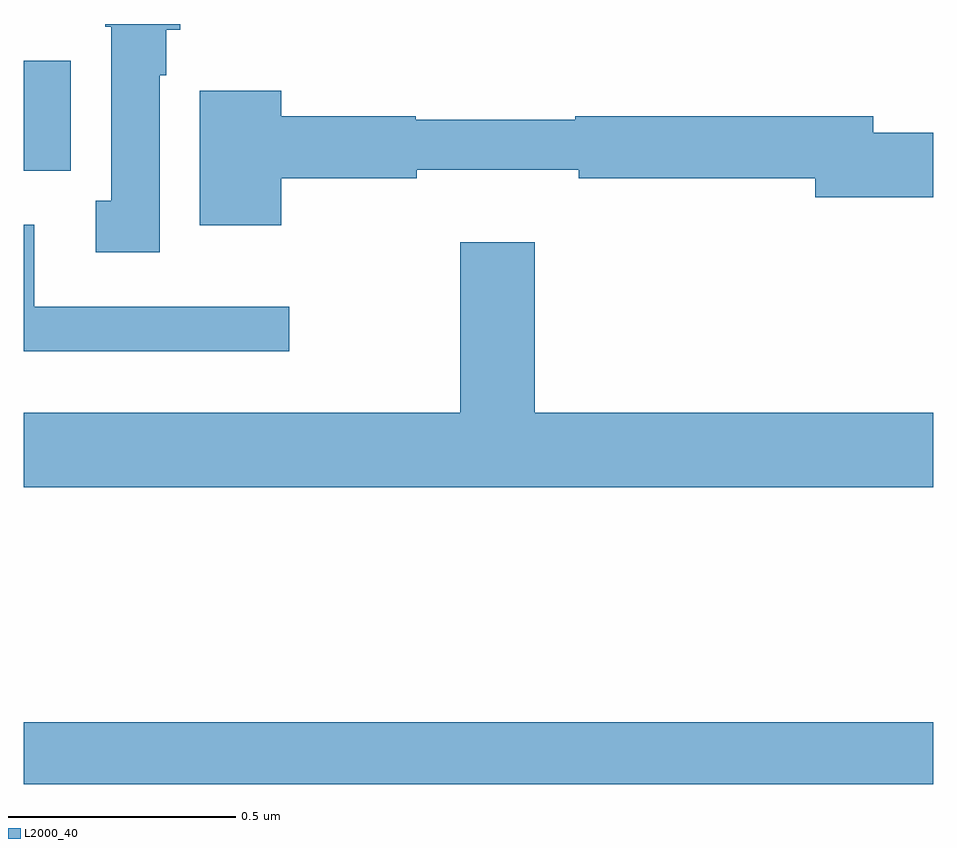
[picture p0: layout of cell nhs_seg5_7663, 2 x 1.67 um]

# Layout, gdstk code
import gdstk
lib = gdstk.Library(unit=1e-6, precision=1e-09)
def R(c, l, rs):  # rectangles x0, y0, x1, y1
    for r in rs: c.add(gdstk.rectangle(r[:2], r[2:], *l))
def P(c, l, *ps):  # polygons
    for p in ps: c.add(gdstk.Polygon(p, *l))
L2000_40 = (2000, 40)

nhs_seg5_7663 = lib.new_cell('nhs_seg5_7663')
R(nhs_seg5_7663, L2000_40, [(212,836.128,214,836.264), (212,837.476,212.104,837.718)])
P(nhs_seg5_7663, L2000_40, [(212.299,837.686),(212.314,837.686),(212.314,837.786),(212.344,837.786),(212.344,837.799),(212.179,837.799),(212.179,837.793),(212.192,837.793),(212.192,837.41),(212.159,837.41),(212.159,837.297),(212.299,837.297)],
  [(212.566,837.46),(212.864,837.46),(212.864,837.479),(213.22,837.479),(213.22,837.46),(213.74,837.46),(213.74,837.418),(214,837.418),(214,837.56),(213.868,837.56),(213.868,837.596),(213.213,837.596),(213.213,837.589),(212.862,837.589),(212.862,837.596),(212.566,837.596),(212.566,837.652),(212.387,837.652),(212.387,837.356),(212.566,837.356)],
  [(212.584,837.177),(212.023,837.177),(212.023,837.358),(212,837.358),(212,837.08),(212.584,837.08)],
  [(214,836.944),(213.124,836.944),(213.124,837.319),(212.96,837.319),(212.96,836.944),(212,836.944),(212,836.78),(214,836.78)])

lib.write_gds('nhs_seg5_7663.gds')
